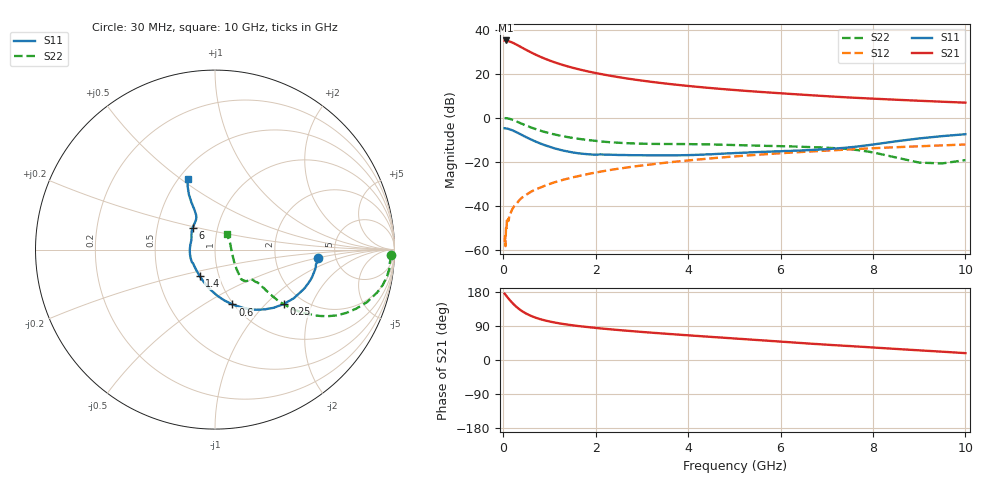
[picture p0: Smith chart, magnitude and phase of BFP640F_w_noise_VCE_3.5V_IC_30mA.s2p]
! Infineon Technologies  Discrete & RF Semiconductors
! BFP640F
! VCE =  3.5 V,  IC =  30 mA
! Common Emitter S-Parameters:  Apr 2013
# GHz  S  MA  R  50
!  f  S11  S21  S12  S22
! GHz  MAG  ANG  MAG  ANG  MAG  ANG  MAG  ANG
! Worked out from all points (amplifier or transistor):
!   99 points, 30 MHz to 10 GHz, reference 50 ohm
!   highest |S21| = 35.1 dB at 50 MHz (marker M1)
!   |S21| within 3 dB of that: start of sweep to 384.4 MHz
!   unconditionally stable (mu >= 1): 1.839 GHz to end of sweep
!   at 350 MHz: K = 0.47, MSG = 35.0 dB, |S12| = -37.5 dB
!   at 3.5 GHz: K = 1.06, MAG = 16.6 dB, |S12| = -20.5 dB
!   at 10 GHz: K = 1.04, MAG = 8.3 dB, |S12| = -12.2 dB
!   lowest NFmin = 1.02 dB at 450 MHz
!   S11 on the Smith chart (normalised r, x): 30 MHz: 3.64, -0.53; 250 MHz: 1.61, -1.28; 600 MHz: 0.99, -0.67; 1.4 GHz: 0.81, -0.25; 6 GHz: 0.76, +0.19; 10 GHz: 0.55, +0.53
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0.03  0.5768 -4.8  57.03 175.1  0.0015 63.3  0.9789 -1.9
0.05  0.5684 -8.3  57.16 172.1  0.0012 62.9  0.9766 -4.4
0.11  0.557 -18.1  55.32 162.8  0.005 86.5  0.9601 -10.8
0.15  0.54 -24.3  53.58 157.0  0.0064 81.7  0.9346 -14.8
0.2  0.5163 -31.6  51.02 150.3  0.0085 79.0  0.8967 -19.0
0.25  0.4888 -38.3  48.17 144.2  0.0102 76.3  0.8541 -22.6
0.3  0.4616 -44.5  45.23 138.7  0.0115 75.7  0.8128 -25.7
0.4  0.4073 -55.4  39.65 129.5  0.0151 73.7  0.7311 -30.5
0.5  0.3598 -64.4  34.74 122.3  0.0178 73.6  0.6609 -33.6
0.6  0.3207 -72.4  30.63 116.4  0.0207 73.4  0.6022 -35.8
0.7  0.2878 -79.6  27.22 111.7  0.0235 72.0  0.552 -37.2
0.9  0.2371 -92.5  22.04 104.5  0.0284 71.8  0.4744 -38.7
1.1  0.2026 -104.2  18.39 99.2  0.0338 71.4  0.4188 -39.0
1.4  0.1703 -120.2  14.66 93.2  0.0413 70.9  0.3622 -38.6
1.7  0.1522 -134.9  12.17 88.6  0.049 70.1  0.3241 -37.8
2.4  0.1435 -162.3  8.698 80.1  0.067 67.3  0.2736 -38.7
3.4  0.1399 171.1  6.184 70.4  0.092 62.8  0.2531 -41.8
5.1  0.1585 145.6  4.195 56.0  0.1341 54.1  0.238 -46.9
6  0.1726 136.3  3.6 48.5  0.1558 49.1  0.2257 -48.0
6.7  0.1855 127.6  3.227 42.7  0.1718 45.1  0.214 -48.2
8.5  0.291 116.6  2.567 29.2  0.2138 34.9  0.1247 -31.9
10  0.4216 111.2  2.202 18.1  0.2462 26.2  0.1089 52.1
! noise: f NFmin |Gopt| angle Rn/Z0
0.45  1.02  0.21  -173  0.07
0.9  1.03  0.22  -168  0.07
1.5  1.05  0.23  -162  0.08
1.9  1.08  0.24  -156  0.08
2.4  1.11  0.24  -146  0.09
3.5  1.19  0.25  -137  0.1
5.5  1.38  0.26  -119  0.14
10  1.83  0.45  -83  0.47
